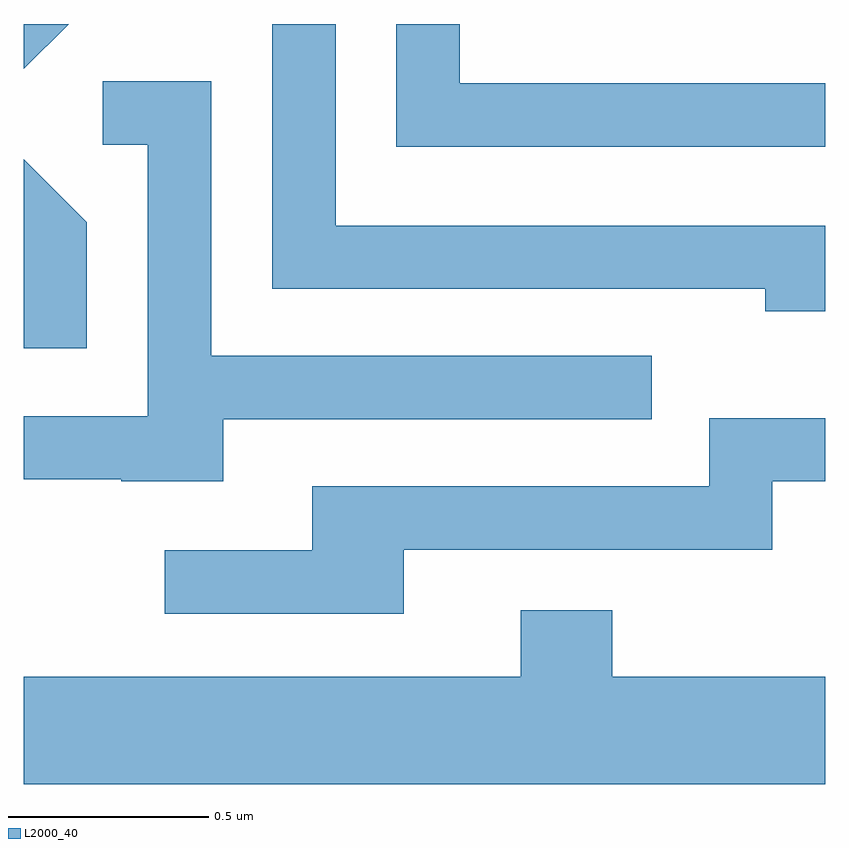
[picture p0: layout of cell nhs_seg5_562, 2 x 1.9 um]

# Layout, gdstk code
import gdstk
lib = gdstk.Library(unit=1e-6, precision=1e-09)
def P(c, l, *ps):  # polygons
    for p in ps: c.add(gdstk.Polygon(p, *l))
L2000_40 = (2000, 40)

nhs_seg5_562 = lib.new_cell('nhs_seg5_562')
P(nhs_seg5_562, L2000_40, [(189.723,1412.072),(189.611,1412.072),(189.611,1411.96)],
  [(191.611,1411.569),(190.389,1411.569),(190.389,1412.072),(190.231,1412.072),(190.231,1411.411),(191.461,1411.411),(191.461,1411.356),(191.611,1411.356)],
  [(191.611,1411.924),(190.699,1411.924),(190.699,1412.072),(190.541,1412.072),(190.541,1411.766),(191.611,1411.766)],
  [(190.109,1411.086),(191.178,1411.086),(191.178,1411.244),(190.079,1411.244),(190.079,1411.929),(189.808,1411.929),(189.808,1411.771),(189.921,1411.771),(189.921,1411.094),(189.611,1411.094),(189.611,1410.936),(189.855,1410.936),(189.855,1410.931),(190.109,1410.931)],
  [(189.769,1411.577),(189.611,1411.735),(189.611,1411.263),(189.769,1411.263)],
  [(190.559,1410.761),(191.479,1410.761),(191.479,1410.931),(191.611,1410.931),(191.611,1411.089),(191.321,1411.089),(191.321,1410.919),(190.331,1410.919),(190.331,1410.759),(189.963,1410.759),(189.963,1410.601),(190.559,1410.601)],
  [(191.611,1410.444),(191.079,1410.444),(191.079,1410.609),(190.851,1410.609),(190.851,1410.444),(189.611,1410.444),(189.611,1410.176),(191.611,1410.176)])

lib.write_gds('nhs_seg5_562.gds')
